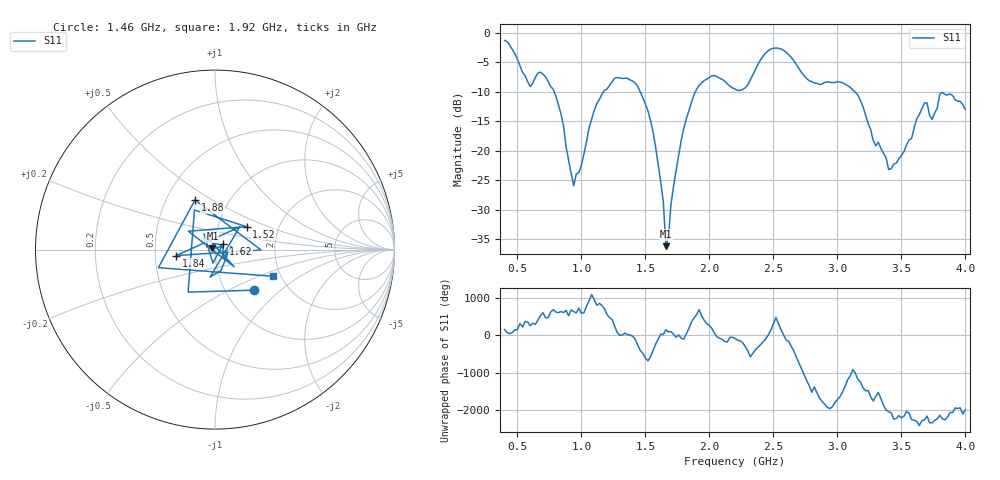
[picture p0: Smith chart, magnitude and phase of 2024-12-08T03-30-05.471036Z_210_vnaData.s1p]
!Created with skrf (http://scikit-rf.org).
# Hz S RI R 50.0
!freq ReS11 ImS11
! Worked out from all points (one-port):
!   181 points, 400 MHz to 4 GHz, reference 50 ohm
!   lowest |S11| = -36.2 dB at 1.66 GHz (marker M1), VSWR 1.03, Z = 48.6 + j0.626 ohm
!   |S11| at or under -10 dB: 787 MHz to 1.174 GHz (387.1 MHz wide, 39.5 % of centre); 1.459 GHz to 1.891 GHz (432.2 MHz wide, 25.8 % of centre); 3.136 GHz to end of sweep
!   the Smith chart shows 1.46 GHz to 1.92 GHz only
!   S11 on the Smith chart (normalised r, x): 1.46 GHz: 1.36, -0.68; 1.52 GHz: 1.37, +0.37; 1.62 GHz: 1.09, +0.07; 1.84 GHz: 0.64, -0.04; 1.88 GHz: 0.69, +0.42; 1.92 GHz: 1.83, -0.62
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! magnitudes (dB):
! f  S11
! 400 MHz  -1.3
! 600 MHz  -9.1
! 720 MHz  -7.5
! 860 MHz  -15.8
! 940 MHz  -25.9
! 1.12 GHz  -12.0
! 1.3 GHz  -7.7
! 1.46 GHz  -10.0
! 1.52 GHz  -13.3
! 1.62 GHz  -25.3
! 1.64 GHz  -28.6
! 1.66 GHz  -36.2
! 1.76 GHz  -20.8
! 1.84 GHz  -13.2
! 1.88 GHz  -10.5
! 1.92 GHz  -8.9
! 2.04 GHz  -7.3
! 2.2 GHz  -9.6
! 2.48 GHz  -2.8
! 2.66 GHz  -4.8
! 2.78 GHz  -8.1
! 3.1 GHz  -9.3
! 3.4 GHz  -23.2
! 3.56 GHz  -18.2
! 3.68 GHz  -11.9
! 3.74 GHz  -14.7
! 3.82 GHz  -10.1
! 4 GHz  -13.1
